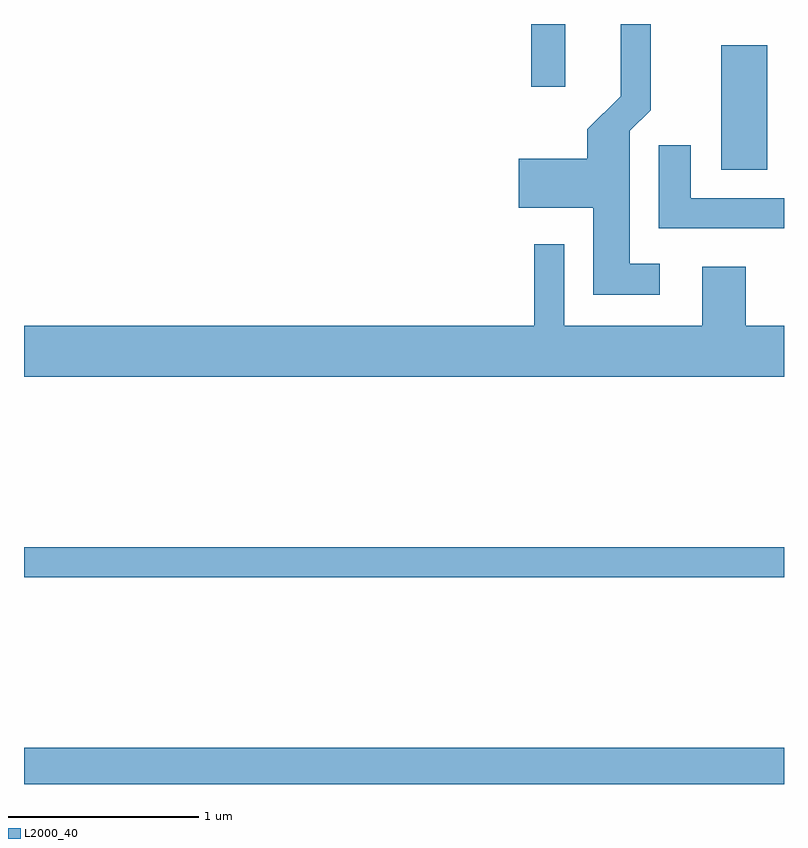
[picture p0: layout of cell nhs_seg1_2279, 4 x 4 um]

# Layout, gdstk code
import gdstk
lib = gdstk.Library(unit=1e-6, precision=1e-09)
def R(c, l, rs):  # rectangles x0, y0, x1, y1
    for r in rs: c.add(gdstk.rectangle(r[:2], r[2:], *l))
def P(c, l, *ps):  # polygons
    for p in ps: c.add(gdstk.Polygon(p, *l))
L2000_40 = (2000, 40)

nhs_seg1_2279 = lib.new_cell('nhs_seg1_2279')
R(nhs_seg1_2279, L2000_40, [(255.611,839.712,259.611,839.904), (255.611,840.801,259.611,840.959), (259.281,842.946,259.524,843.599), (258.281,843.381,258.459,843.712)])
P(nhs_seg1_2279, L2000_40, [(258.957,842.449),(258.799,842.449),(258.799,843.149),(258.909,843.259),(258.909,843.712),(258.751,843.712),(258.751,843.332),(258.576,843.157),(258.576,843.004),(258.216,843.004),(258.216,842.746),(258.606,842.746),(258.606,842.286),(258.957,842.286)],
  [(259.611,842.794),(259.119,842.794),(259.119,843.073),(258.951,843.073),(258.951,842.636),(259.611,842.636)],
  [(259.611,842.124),(259.409,842.124),(259.409,842.434),(259.181,842.434),(259.181,842.124),(258.454,842.124),(258.454,842.553),(258.296,842.553),(258.296,842.124),(255.611,842.124),(255.611,841.856),(259.611,841.856)])

lib.write_gds('nhs_seg1_2279.gds')
